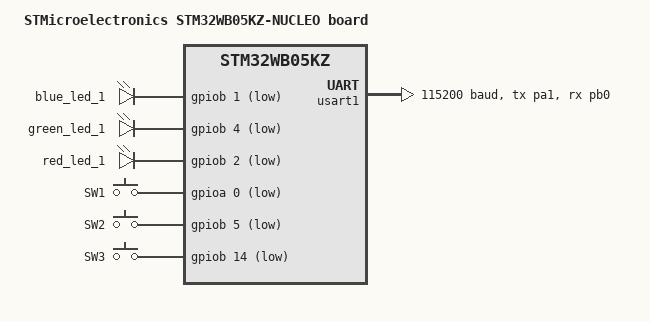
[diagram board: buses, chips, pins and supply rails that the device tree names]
/*
 * Copyright (c) 2024 STMicroelectronics
 *
 * SPDX-License-Identifier: Apache-2.0
 */

/dts-v1/;
#include <st/wb0/stm32wb05Xz.dtsi>
#include <st/wb0/stm32wb05kzvx-pinctrl.dtsi>
#include <zephyr/dt-bindings/input/input-event-codes.h>

#include "arduino_r3_connector.dtsi"

/ {
	model = "STMicroelectronics STM32WB05KZ-NUCLEO board";
	compatible = "st,stm32wb05kz-nucleo";

	#address-cells = <1>;
	#size-cells = <1>;

	chosen {
		zephyr,console = &usart1;
		zephyr,shell-uart = &usart1;
		zephyr,sram = &sram0;
		zephyr,flash = &flash0;
	};

	leds: leds {
		compatible ="gpio-leds";
		blue_led_1: led_0 {
			gpios = <&gpiob 1 (GPIO_ACTIVE_LOW | GPIO_PULL_UP)>;
		};
		green_led_1: led_1 {
			gpios = <&gpiob 4 (GPIO_ACTIVE_LOW | GPIO_PULL_UP)>;
		};
		red_led_1: led_2 {
			gpios = <&gpiob 2 (GPIO_ACTIVE_LOW | GPIO_PULL_UP)>;
		};
	};

	gpio_keys {
		compatible = "gpio-keys";
		user_button_1: button_0 {
			label = "SW1";
			gpios = <&gpioa 0 (GPIO_ACTIVE_LOW | GPIO_PULL_UP)>;
			zephyr,code = <INPUT_KEY_0>;
		};
		user_button_2: button_1 {
			label = "SW2";
			gpios = <&gpiob 5 (GPIO_ACTIVE_LOW | GPIO_PULL_UP)>;
			zephyr,code = <INPUT_KEY_1>;
		};
		user_button_3: button_2 {
			label = "SW3";
			gpios = <&gpiob 14 (GPIO_ACTIVE_LOW | GPIO_PULL_UP)>;
			zephyr,code = <INPUT_KEY_2>;
		};
	};

	aliases {
		led0 = &blue_led_1;
		led1 = &green_led_1;
		led2 = &red_led_1;
		sw0 = &user_button_1;
		sw1 = &user_button_2;
		sw2 = &user_button_3;
	};
};

&pwrc {
	smps-mode = "RUN";
	smps-bom = <3>;
};

&clk_lse {
	status = "okay";
};

&clk_hse {
	status = "okay";
};

&clk_hsi {
	status = "okay";
};

&pll {
	status = "okay";
};

&rcc {
	clocks = <&pll>;
	clock-frequency = <DT_FREQ_M(64)>;
	clksys-prescaler = <1>;
	slow-clock = <&clk_lse>;
};

&usart1 {
	pinctrl-0 = <&usart1_tx_pa1 &usart1_rx_pb0>;
	pinctrl-names = "default";
	current-speed = <115200>;
	status = "okay";
};
